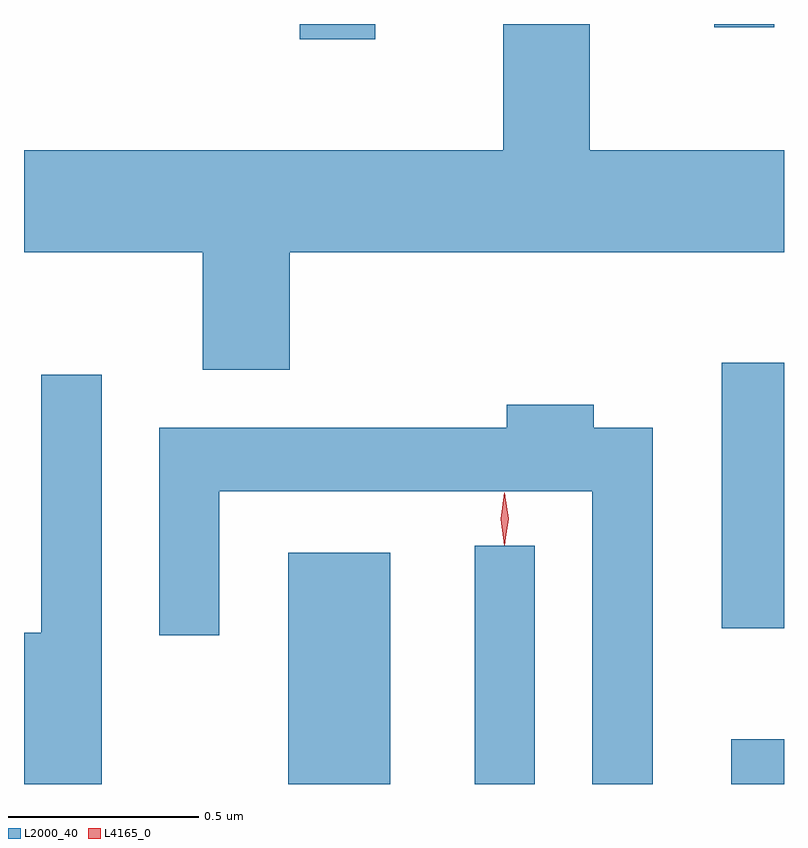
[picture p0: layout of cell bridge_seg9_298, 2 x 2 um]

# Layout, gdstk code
import gdstk
lib = gdstk.Library(unit=1e-6, precision=1e-09)
def R(c, l, rs):  # rectangles x0, y0, x1, y1
    for r in rs: c.add(gdstk.rectangle(r[:2], r[2:], *l))
def P(c, l, *ps):  # polygons
    for p in ps: c.add(gdstk.Polygon(p, *l))
L2000_40 = (2000, 40)
L4165_0 = (4165, 0)

bridge_seg9_298 = lib.new_cell('bridge_seg9_298')
R(bridge_seg9_298, L2000_40, [(1019.276,2070.336,1019.544,2070.944), (1019.766,2070.336,1019.924,2070.963), (1020.441,2070.336,1020.58,2070.454), (1020.416,2070.746,1020.58,2071.444), (1019.306,2072.296,1019.504,2072.336), (1020.396,2072.327,1020.554,2072.336)])
P(bridge_seg9_298, L2000_40, [(1019.279,2071.736),(1020.58,2071.736),(1020.58,2072.004),(1020.069,2072.004),(1020.069,2072.336),(1019.841,2072.336),(1019.841,2072.004),(1018.58,2072.004),(1018.58,2071.736),(1019.051,2071.736),(1019.051,2071.426),(1019.279,2071.426)],
  [(1018.784,2071.413),(1018.626,2071.413),(1018.626,2070.734),(1018.58,2070.734),(1018.58,2070.336),(1018.784,2070.336)],
  [(1020.234,2071.274),(1020.079,2071.274),(1020.079,2071.334),(1019.851,2071.334),(1019.851,2071.274),(1018.936,2071.274),(1018.936,2070.728),(1019.094,2070.728),(1019.094,2071.106),(1020.076,2071.106),(1020.076,2070.336),(1020.234,2070.336)])
P(bridge_seg9_298, L4165_0, [(1019.844,2070.964),(1019.844,2070.964),(1019.834,2071.033),(1019.844,2071.102),(1019.844,2071.103),(1019.845,2071.102),(1019.854,2071.033),(1019.845,2070.964)],
  [(1019.845,2070.967),(1019.844,2070.968),(1019.835,2071.034),(1019.844,2071.1),(1019.845,2071.1),(1019.845,2071.1),(1019.855,2071.034),(1019.845,2070.968)])

lib.write_gds('bridge_seg9_298.gds')
